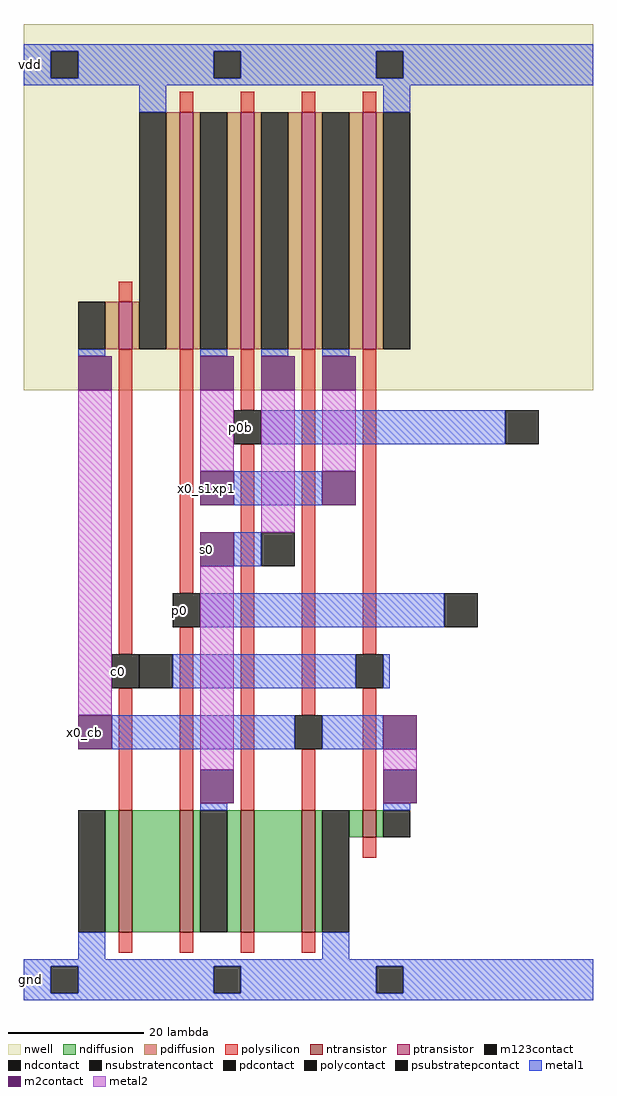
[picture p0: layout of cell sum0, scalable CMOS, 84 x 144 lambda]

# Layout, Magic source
magic
tech scmos
<< nwell >>
rect 0 90 84 144
<< ntransistor >>
rect 14 10 16 28
rect 23 10 25 28
rect 32 10 34 28
rect 41 10 43 28
rect 50 24 52 28
<< ptransistor >>
rect 14 96 16 103
rect 23 96 25 131
rect 32 96 34 131
rect 41 96 43 131
rect 50 96 52 131
<< ndiffusion >>
rect 12 10 14 28
rect 16 10 23 28
rect 25 10 26 28
rect 30 10 32 28
rect 34 10 41 28
rect 43 10 44 28
rect 48 24 50 28
rect 52 24 53 28
<< pdiffusion >>
rect 12 96 14 103
rect 16 96 17 103
rect 21 96 23 131
rect 25 96 26 131
rect 30 96 32 131
rect 34 96 35 131
rect 39 96 41 131
rect 43 96 44 131
rect 48 96 50 131
rect 52 96 53 131
<< ndcontact >>
rect 8 10 12 28
rect 26 10 30 28
rect 44 10 48 28
rect 53 24 57 28
<< pdcontact >>
rect 8 96 12 103
rect 17 96 21 131
rect 26 96 30 131
rect 35 96 39 131
rect 44 96 48 131
rect 53 96 57 131
<< psubstratepcontact >>
rect 4 1 8 5
rect 28 1 32 5
rect 52 1 56 5
<< nsubstratencontact >>
rect 4 136 8 140
rect 28 136 32 140
rect 52 136 56 140
<< polysilicon >>
rect 23 131 25 134
rect 32 131 34 134
rect 41 131 43 134
rect 50 131 52 134
rect 14 103 16 106
rect 14 51 16 96
rect 23 60 25 96
rect 32 87 34 96
rect 14 28 16 46
rect 23 28 25 55
rect 32 28 34 82
rect 41 42 43 96
rect 50 51 52 96
rect 41 28 43 37
rect 50 28 52 46
rect 50 21 52 24
rect 14 7 16 10
rect 23 7 25 10
rect 32 7 34 10
rect 41 7 43 10
<< polycontact >>
rect 31 82 35 87
rect 22 55 26 60
rect 13 46 17 51
rect 49 46 53 51
rect 40 37 44 42
<< metal1 >>
rect 0 140 84 141
rect 0 136 4 140
rect 8 136 28 140
rect 32 136 52 140
rect 56 136 84 140
rect 0 135 84 136
rect 17 131 21 135
rect 53 131 57 135
rect 8 95 12 96
rect 26 95 30 96
rect 35 95 39 96
rect 44 95 48 96
rect 35 82 71 87
rect 31 73 44 78
rect 31 64 35 69
rect 26 55 62 60
rect 22 46 49 51
rect 53 46 54 51
rect 13 37 40 42
rect 44 37 53 42
rect 26 28 30 29
rect 53 28 57 29
rect 8 6 12 10
rect 44 6 48 10
rect 0 5 84 6
rect 0 1 4 5
rect 8 1 28 5
rect 32 1 52 5
rect 56 1 84 5
rect 0 0 84 1
<< m2contact >>
rect 8 90 13 95
rect 26 90 31 95
rect 35 90 40 95
rect 44 90 49 95
rect 26 73 31 78
rect 44 73 49 78
rect 26 64 31 69
rect 8 37 13 42
rect 53 37 58 42
rect 26 29 31 34
rect 53 29 58 34
<< metal2 >>
rect 8 42 13 90
rect 26 78 31 90
rect 35 69 40 90
rect 44 78 49 90
rect 26 34 31 64
rect 53 34 58 37
<< m123contact >>
rect 71 82 76 87
rect 35 64 40 69
rect 17 46 22 51
rect 62 55 67 60
<< labels >>
rlabel metal1 13 46 15 51 0 c0
port 1 nsew
rlabel metal1 22 55 24 60 0 p0
port 2 nsew
rlabel metal1 31 82 33 87 0 p0b
port 3 nsew
rlabel m2contact 26 64 28 69 0 s0
port 4 nsew
rlabel m2contact 8 37 10 42 0 x0_cb
rlabel m2contact 26 73 28 78 0 x0_s1xp1
rlabel metal1 0 135 2 141 0 vdd
port 5 nsew
rlabel metal1 0 0 2 6 0 gnd
port 6 nsew
<< end >>
